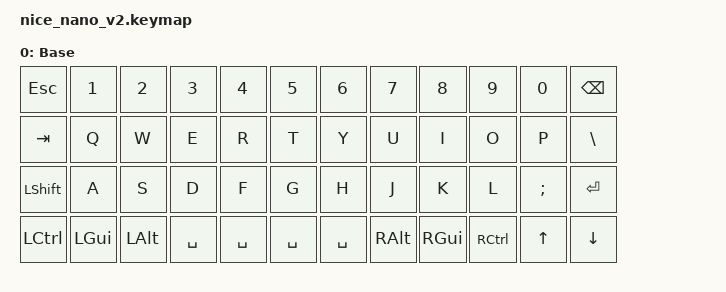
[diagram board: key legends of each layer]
#include <behaviors.dtsi>
#include <dt-bindings/zmk/keys.h>

/ {
    keymap {
        compatible = "zmk,keymap";

        default_layer {
            display-name = "Base";
            bindings = <
                &kp ESC   &kp N1    &kp N2    &kp N3    &kp N4    &kp N5    &kp N6    &kp N7    &kp N8    &kp N9    &kp N0    &kp BSPC
                &kp TAB   &kp Q     &kp W     &kp E     &kp R     &kp T     &kp Y     &kp U     &kp I     &kp O     &kp P     &kp BSLH
                &kp LSHFT &kp A     &kp S     &kp D     &kp F     &kp G     &kp H     &kp J     &kp K     &kp L     &kp SEMI  &kp RET
                &kp LCTRL &kp LGUI  &kp LALT  &kp SPACE &kp SPACE &kp SPACE &kp SPACE &kp RALT  &kp RGUI  &kp RCTRL &kp UP    &kp DOWN
            >;
        };
    };
};
